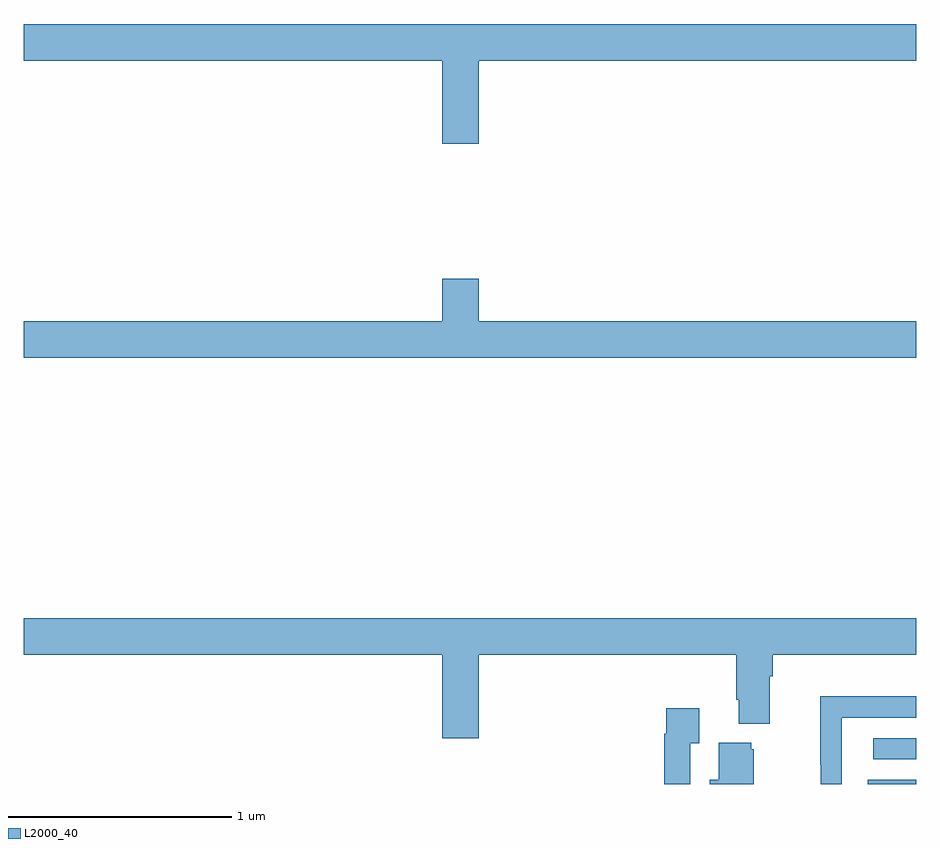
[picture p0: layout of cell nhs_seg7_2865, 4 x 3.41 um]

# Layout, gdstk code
import gdstk
lib = gdstk.Library(unit=1e-6, precision=1e-09)
def R(c, l, rs):  # rectangles x0, y0, x1, y1
    for r in rs: c.add(gdstk.rectangle(r[:2], r[2:], *l))
def P(c, l, *ps):  # polygons
    for p in ps: c.add(gdstk.Polygon(p, *l))
L2000_40 = (2000, 40)

nhs_seg7_2865 = lib.new_cell('nhs_seg7_2865')
R(nhs_seg7_2865, L2000_40, [(298.784,1036,299,1036.018), (298.809,1036.11,299,1036.206)])
P(nhs_seg7_2865, L2000_40, [(297.04,1039.244),(299,1039.244),(299,1039.408),(295,1039.408),(295,1039.244),(296.876,1039.244),(296.876,1038.87),(297.04,1038.87)],
  [(299,1038.076),(297.04,1038.076),(297.04,1038.265),(296.876,1038.265),(296.876,1038.076),(295,1038.076),(295,1037.912),(299,1037.912)],
  [(297.04,1036.58),(298.193,1036.58),(298.193,1036.378),(298.205,1036.378),(298.205,1036.271),(298.345,1036.271),(298.345,1036.484),(298.358,1036.484),(298.358,1036.58),(299,1036.58),(299,1036.744),(295,1036.744),(295,1036.58),(296.876,1036.58),(296.876,1036.206),(297.04,1036.206)],
  [(298.668,1036.296),(299,1036.296),(299,1036.394),(298.57,1036.394),(298.57,1036.087),(298.572,1036.087),(298.572,1036),(298.668,1036)],
  [(297.987,1036.183),(298.027,1036.183),(298.027,1036.339),(297.879,1036.339),(297.879,1036.226),(297.871,1036.226),(297.871,1036),(297.987,1036)],
  [(298.273,1036.155),(298.262,1036.155),(298.262,1036.186),(298.115,1036.186),(298.115,1036.018),(298.076,1036.018),(298.076,1036),(298.273,1036)])

lib.write_gds('nhs_seg7_2865.gds')
